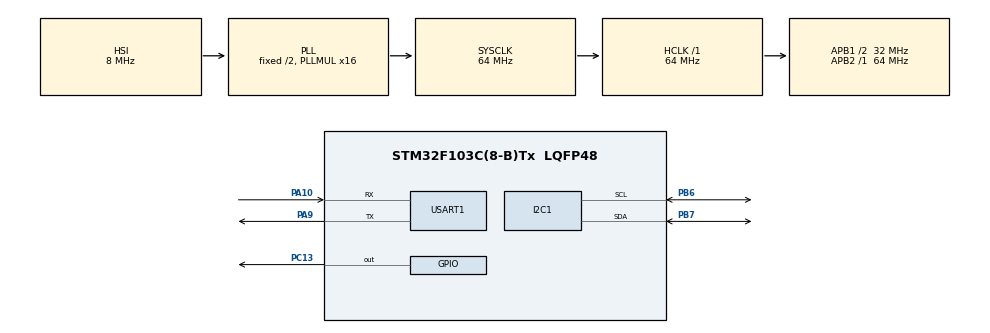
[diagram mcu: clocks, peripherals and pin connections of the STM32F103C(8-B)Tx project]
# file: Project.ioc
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Mcu.Family=STM32F1
Mcu.Name=STM32F103C(8-B)Tx
Mcu.Package=LQFP48
NVIC.PriorityGroup=NVIC_PRIORITYGROUP_4
PA10.Mode=Asynchronous
PA10.Signal=USART1_RX
PA13.Mode=Serial_Wire
PA13.Signal=SYS_JTMS-SWDIO
PA14.Mode=Serial_Wire
PA14.Signal=SYS_JTCK-SWCLK
PA9.Mode=Asynchronous
PA9.Signal=USART1_TX
PB6.Mode=I2C
PB6.Signal=I2C1_SCL
PB7.Mode=I2C
PB7.Signal=I2C1_SDA
PC13-TAMPER-RTC.Signal=GPIO_Output
ProjectManager.HeapSize=0x200
ProjectManager.StackSize=0x400
ProjectManager.TargetToolchain=MDK-ARM V5.32
RCC.AHBFreq_Value=64000000
RCC.APB1CLKDivider=RCC_HCLK_DIV2
RCC.APB1Freq_Value=32000000
RCC.APB1TimFreq_Value=64000000
RCC.APB2Freq_Value=64000000
RCC.APB2TimFreq_Value=64000000
RCC.HCLKFreq_Value=64000000
RCC.PLLMUL=RCC_PLL_MUL16
RCC.SYSCLKFreq_VALUE=64000000
RCC.SYSCLKSource=RCC_SYSCLKSOURCE_PLLCLK
RCC.USBFreq_Value=64000000
USART1.VirtualMode=VM_ASYNC
board=custom

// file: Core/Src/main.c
/* USER CODE BEGIN Header */
/**
  ******************************************************************************
  * @file           : main.c
  * @brief          : Main program body
  ******************************************************************************
  * @attention
  *
  * Copyright (c) 2025 STMicroelectronics.
  * All rights reserved.
  *
  * This software is licensed under terms that can be found in the LICENSE file
  * in the root directory of this software component.
  * If no LICENSE file comes with this software, it is provided AS-IS.
  *
  ******************************************************************************
  */
/* USER CODE END Header */
#include "main.h"
#include "i2c.h"
#include "usart.h"
#include "gpio.h"

/* USER CODE BEGIN Includes */
/**************************************硬件IIC测试  Demo*******************************************/
/*****************芯片型号 Stmf103c8t6 HAL库  *****************************************************/
/*****************引脚 SDA PB7 SCL PB6 				  ***************************************************/
/*****************串口 Tx PA9 Rx PA10 *************************************************************/
/**************************************硬件IIC测试  Demo*******************************************/
#include "hardware_iic.h"
#include "stdio.h"
#include "string.h"
/* USER CODE END Includes */

void SystemClock_Config(void);

/* USER CODE BEGIN 0 */
unsigned char Digtal;
unsigned char Anolog[8]={0};
unsigned char rx_buff[256]={0};
unsigned char Normal[8]={0};
/* USER CODE END 0 */

int main(void)
{

  /* MCU Configuration--------------------------------------------------------*/

  /* Reset of all peripherals, Initializes the Flash interface and the Systick. */
  HAL_Init();

  /* Configure the system clock */
  SystemClock_Config();

  /* Initialize all configured peripherals */
  MX_GPIO_Init();
  MX_I2C1_Init();
  MX_USART1_UART_Init();
  /* USER CODE BEGIN 2 */
	sprintf((char *)rx_buff,"hello_world!\r\n");
	uart1_send_string((char *)rx_buff);
	memset(rx_buff,0,256);
	while(Ping())
	{
		HAL_Delay(1);
		sprintf((char *)rx_buff,"Ping Faild Try Again!\r\n");
		uart1_send_string((char *)rx_buff);
		memset(rx_buff,0,256);
	}
	sprintf((char *)rx_buff,"Ping Succseful!\r\n");
	uart1_send_string((char *)rx_buff);
	memset(rx_buff,0,256);
  /* USER CODE END 2 */

  /* Infinite loop */
  while (1)
  {

    /* USER CODE BEGIN 3 */
			Digtal=IIC_Get_Digtal();
			sprintf((char *)rx_buff,"Digtal %d-%d-%d-%d-%d-%d-%d-%d\r\n",(Digtal>>0)&0x01,(Digtal>>1)&0x01,(Digtal>>2)&0x01,(Digtal>>3)&0x01,(Digtal>>4)&0x01,(Digtal>>5)&0x01,(Digtal>>6)&0x01,(Digtal>>7)&0x01);
			uart1_send_string((char *)rx_buff);
			memset(rx_buff,0,256);

			//获取传感器模拟量结果
			if(IIC_Get_Anolog(Anolog,8)){
			sprintf((char *)rx_buff,"Anolog %d-%d-%d-%d-%d-%d-%d-%d\r\n",Anolog[0],Anolog[1],Anolog[2],Anolog[3],Anolog[4],Anolog[5],Anolog[6],Anolog[7]);
			uart1_send_string((char *)rx_buff);
			memset(rx_buff,0,256);
			}

			//获取传感器归一化结果
			IIC_Anolog_Normalize(0xff);//所有通道归一化都打开
			HAL_Delay(10);//设置完，需要等上一会。stm8的运算速度没stm32快，等一下，让传感器把数据刷新一下。
			if(IIC_Get_Anolog(Normal,8)){
			sprintf((char *)rx_buff,"Normalize %d-%d-%d-%d-%d-%d-%d-%d\r\n",Normal[0],Normal[1],Normal[2],Normal[3],Normal[4],Normal[5],Normal[6],Normal[7]);
			uart1_send_string((char *)rx_buff);
			memset(rx_buff,0,256);
			}
			IIC_Anolog_Normalize(0x00);//为了下一次循环是非归一化，所以清零
			HAL_Delay(1000);
  }
  /* USER CODE END 3 */
}

void SystemClock_Config(void)
{
  RCC_OscInitTypeDef RCC_OscInitStruct = {0};
  RCC_ClkInitTypeDef RCC_ClkInitStruct = {0};

  /** Initializes the RCC Oscillators according to the specified parameters
  * in the RCC_OscInitTypeDef structure.
  */
  RCC_OscInitStruct.OscillatorType = RCC_OSCILLATORTYPE_HSI;
  RCC_OscInitStruct.HSIState = RCC_HSI_ON;
  RCC_OscInitStruct.HSICalibrationValue = RCC_HSICALIBRATION_DEFAULT;
  RCC_OscInitStruct.PLL.PLLState = RCC_PLL_ON;
  RCC_OscInitStruct.PLL.PLLSource = RCC_PLLSOURCE_HSI_DIV2;
  RCC_OscInitStruct.PLL.PLLMUL = RCC_PLL_MUL16;
  if (HAL_RCC_OscConfig(&RCC_OscInitStruct) != HAL_OK)
  {
    Error_Handler();
  }

  /** Initializes the CPU, AHB and APB buses clocks
  */
  RCC_ClkInitStruct.ClockType = RCC_CLOCKTYPE_HCLK|RCC_CLOCKTYPE_SYSCLK
                              |RCC_CLOCKTYPE_PCLK1|RCC_CLOCKTYPE_PCLK2;
  RCC_ClkInitStruct.SYSCLKSource = RCC_SYSCLKSOURCE_PLLCLK;
  RCC_ClkInitStruct.AHBCLKDivider = RCC_SYSCLK_DIV1;
  RCC_ClkInitStruct.APB1CLKDivider = RCC_HCLK_DIV2;
  RCC_ClkInitStruct.APB2CLKDivider = RCC_HCLK_DIV1;

  if (HAL_RCC_ClockConfig(&RCC_ClkInitStruct, FLASH_LATENCY_2) != HAL_OK)
  {
    Error_Handler();
  }
}

void Error_Handler(void)
{
  __disable_irq();
  while (1)
  {
  }
}
